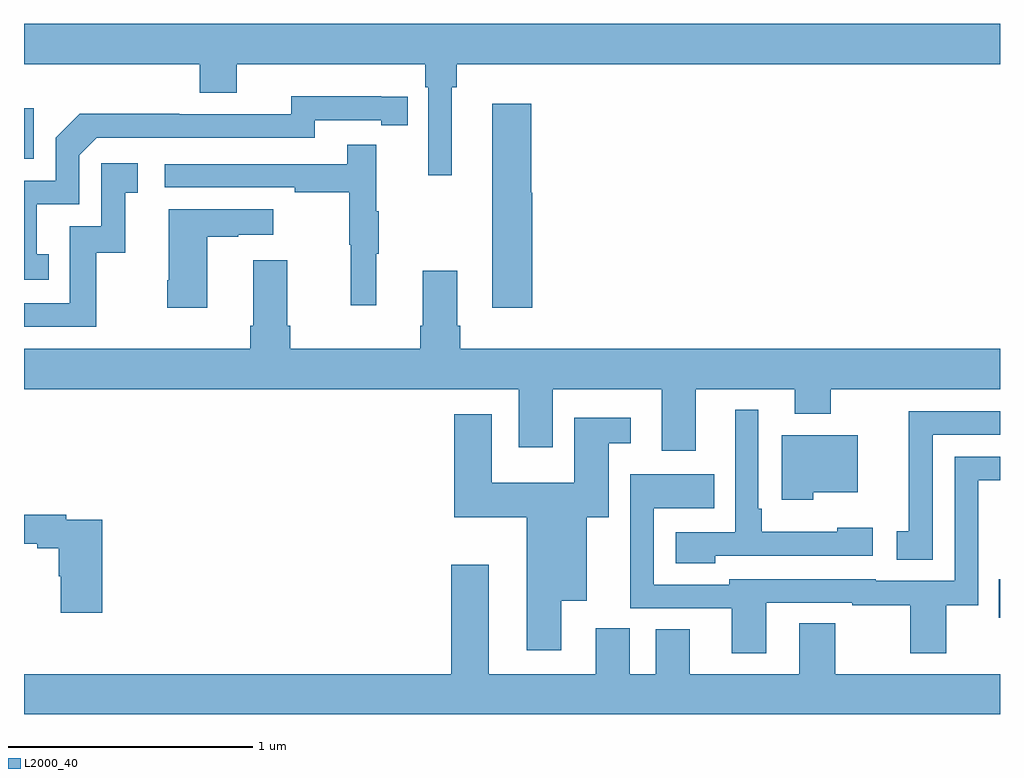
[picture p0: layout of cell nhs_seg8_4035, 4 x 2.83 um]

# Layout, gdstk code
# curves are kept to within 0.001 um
import gdstk
lib = gdstk.Library(unit=1e-6, precision=1e-09)
def R(c, l, rs):  # rectangles x0, y0, x1, y1
    for r in rs: c.add(gdstk.rectangle(r[:2], r[2:], *l))
def P(c, l, *ps):  # polygons
    for p in ps: c.add(gdstk.Polygon(p, *l))
L2000_40 = (2000, 40)

nhs_seg8_4035 = lib.new_cell('nhs_seg8_4035')
R(nhs_seg8_4035, L2000_40, [(362.995,1108.902,363,1109.061), (359,1110.783,359.04,1110.991)])
P(nhs_seg8_4035, L2000_40, [(360.754,1111.076),(360.773,1111.076),(360.773,1111.172),(363,1111.172),(363,1111.336),(359,1111.336),(359,1111.172),(359.72,1111.172),(359.72,1111.055),(359.872,1111.055),(359.872,1111.172),(360.644,1111.172),(360.644,1111.076),(360.657,1111.076),(360.657,1110.717),(360.754,1110.717)],
  [(359.102,1110.393),(359.053,1110.393),(359.053,1110.597),(359.226,1110.597),(359.226,1110.798),(359.298,1110.87),(360.192,1110.87),(360.192,1110.942),(360.464,1110.942),(360.464,1110.922),(360.572,1110.922),(360.572,1111.038),(360.096,1111.039),(360.096,1110.966),(359.636,1110.966),(359.636,1110.968),(359.228,1110.968),(359.13,1110.87),(359.13,1110.693),(359,1110.693),(359,1110.288),(359.102,1110.288)],
  [(361.084,1110.645),(361.079,1110.645),(361.079,1111.009),(360.92,1111.009),(360.92,1110.174),(361.084,1110.174)],
  [(360.443,1110.395),(360.454,1110.395),(360.454,1110.569),(360.443,1110.569),(360.443,1110.841),(360.325,1110.841),(360.325,1110.762),(359.577,1110.762),(359.577,1110.666),(360.109,1110.666),(360.109,1110.646),(360.333,1110.646),(360.333,1110.432),(360.34,1110.432),(360.34,1110.183),(360.443,1110.183)],
  [(359.296,1110.399),(359.414,1110.399),(359.414,1110.645),(359.467,1110.645),(359.467,1110.766),(359.316,1110.766),(359.316,1110.507),(359.187,1110.507),(359.187,1110.192),(359,1110.192),(359,1110.096),(359.296,1110.096)],
  [(359.752,1110.463),(359.879,1110.463),(359.879,1110.473),(360.022,1110.473),(360.022,1110.577),(359.594,1110.577),(359.594,1110.286),(359.587,1110.286),(359.587,1110.174),(359.752,1110.174)],
  [(361.753,1109.84),(362.159,1109.84),(362.159,1109.738),(362.307,1109.738),(362.307,1109.84),(363,1109.84),(363,1110.004),(360.788,1110.004),(360.788,1110.1),(360.775,1110.1),(360.775,1110.325),(360.635,1110.325),(360.635,1110.1),(360.623,1110.1),(360.623,1110.004),(360.092,1110.004),(360.092,1110.1),(360.079,1110.1),(360.079,1110.367),(359.939,1110.367),(359.939,1110.1),(359.927,1110.1),(359.927,1110.004),(359,1110.004),(359,1109.84),(361.028,1109.84),(361.028,1109.601),(361.168,1109.601),(361.168,1109.84),(361.613,1109.84),(361.613,1109.586),(361.753,1109.586)],
  [(361.832,1109.157),(362.479,1109.157),(362.479,1109.272),(362.334,1109.272),(362.334,1109.254),(362.023,1109.254),(362.023,1109.35),(362.01,1109.35),(362.01,1109.755),(361.914,1109.755),(361.914,1109.253),(361.671,1109.253),(361.671,1109.126),(361.832,1109.126)],
  [(362.724,1109.652),(363,1109.652),(363,1109.748),(362.627,1109.748),(362.627,1109.257),(362.577,1109.257),(362.577,1109.14),(362.724,1109.14)],
  [(361.201,1108.973),(361.306,1108.973),(361.306,1109.315),(361.396,1109.315),(361.396,1109.618),(361.486,1109.618),(361.486,1109.722),(361.256,1109.722),(361.256,1109.455),(360.916,1109.455),(360.916,1109.737),(360.764,1109.737),(360.764,1109.315),(361.061,1109.315),(361.061,1108.77),(361.201,1108.77)],
  [(362.235,1109.417),(362.416,1109.417),(362.416,1109.65),(362.105,1109.65),(362.105,1109.387),(362.235,1109.387)],
  [(362.041,1108.965),(362.394,1108.965),(362.394,1108.954),(362.632,1108.954),(362.632,1108.758),(362.779,1108.758),(362.779,1108.954),(362.91,1108.954),(362.91,1109.466),(363,1109.466),(363,1109.562),(362.814,1109.562),(362.814,1109.055),(362.49,1109.055),(362.49,1109.061),(361.89,1109.061),(361.89,1109.037),(361.581,1109.037),(361.581,1109.351),(361.829,1109.351),(361.829,1109.491),(361.484,1109.491),(361.484,1108.941),(361.901,1108.941),(361.901,1108.757),(362.041,1108.757)],
  [(359.321,1109.304),(359.174,1109.304),(359.174,1109.324),(359,1109.324),(359,1109.206),(359.054,1109.206),(359.054,1109.188),(359.143,1109.188),(359.143,1109.073),(359.15,1109.073),(359.15,1108.923),(359.321,1108.923)],
  [(363,1108.672),(362.325,1108.672),(362.325,1108.879),(362.177,1108.879),(362.177,1108.672),(361.729,1108.672),(361.729,1108.856),(361.589,1108.856),(361.589,1108.672),(361.483,1108.672),(361.483,1108.86),(361.343,1108.86),(361.343,1108.672),(360.904,1108.672),(360.904,1109.119),(360.752,1109.119),(360.752,1108.672),(359,1108.672),(359,1108.508),(363,1108.508)])

lib.write_gds('nhs_seg8_4035.gds')
